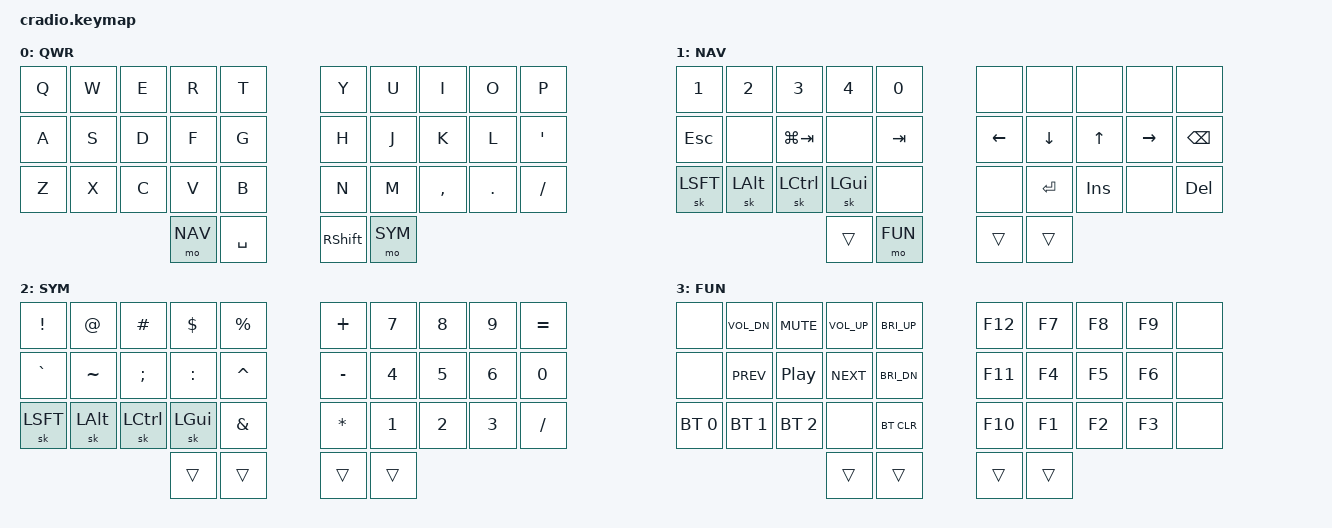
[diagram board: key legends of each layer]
/*
 * Copyright (c) 2020 The ZMK Contributors
 *
 * SPDX-License-Identifier: MIT
 */

#include <behaviors.dtsi>
#include <dt-bindings/zmk/keys.h>
#include <dt-bindings/zmk/bt.h>

#define xxx &none
#define ___ &trans

#define QWR 0
#define NAV 1
#define SYM 2
#define FUN 3

&mt {
  //  flavor = "tap-preferred";
   // tapping_term_ms = <200>;
};

/ { 

    combos {
        #include "combos.dtsi"
    };

        keymap {
                compatible = "zmk,keymap";
                
       		qwerty_layer {
                label = "QWR";
		bindings = <
		&kp Q  &kp W &kp E &kp R   &kp T 	&kp Y     &kp U  &kp I    &kp O   &kp P 
		&kp A  &kp S &kp D &kp F   &kp G 	&kp H     &kp J  &kp K    &kp L   &kp QUOT       
		&kp Z  &kp X &kp C &kp V   &kp B	&kp N     &kp M  &kp CMMA &kp DOT &kp FSLH
          		           &mo NAV &kp SPC      &kp RSHFT &mo SYM 
		>;
		};       

       		nav_layer {
                label = "NAV";
		bindings = <
		&kp N1    &kp N2   &kp N3      &kp N4   &kp N0		xxx       xxx       xxx     xxx       xxx
		&kp ESC   xxx      &kp LG(TAB) xxx      &kp TAB 	&kp LEFT  &kp DOWN  &kp UP  &kp RIGHT &kp BSPC 
		&sk LSFT  &sk LALT &sk LCTL    &sk LGUI xxx             xxx       &kp RET   &kp INS xxx       &kp DEL 
					       ___      &mo FUN         ___       ___
		>;
		};
		
		symbol_layer {
                label = "SYM";
		bindings = <
		&kp EXCL  &kp AT    &kp HASH &kp DLLR  &kp PRCNT	&kp PLUS  &kp N7 &kp N8 &kp N9 &kp EQUAL 
		&kp GRAVE &kp TILDE &kp SEMI &kp COLN  &kp CARET	&kp MINUS &kp N4 &kp N5 &kp N6 &kp N0
		&sk LSFT  &sk LALT  &sk LCTL &sk LGUI  &kp AMPS 	&kp STAR  &kp N1 &kp N2 &kp N3 &kp FSLH
					     ___       ___              ___       ___
		>;
		};	
		
		function_layer {
                label = "FUN";
		bindings = <
		xxx          &kp C_VOL_DN &kp C_MUTE   &kp C_VOL_UP &kp C_BRI_UP    &kp F12 &kp F7 &kp F8 &kp F9 xxx
		xxx          &kp C_PREV   &kp C_PP     &kp C_NEXT   &kp C_BRI_DN    &kp F11 &kp F4 &kp F5 &kp F6 xxx
		&bt BT_SEL 0 &bt BT_SEL 1 &bt BT_SEL 2 xxx          &bt BT_CLR	    &kp F10 &kp F1 &kp F2 &kp F3 xxx
			                               ___          ___             ___     ___
		>;
		};	
        
	};
};
